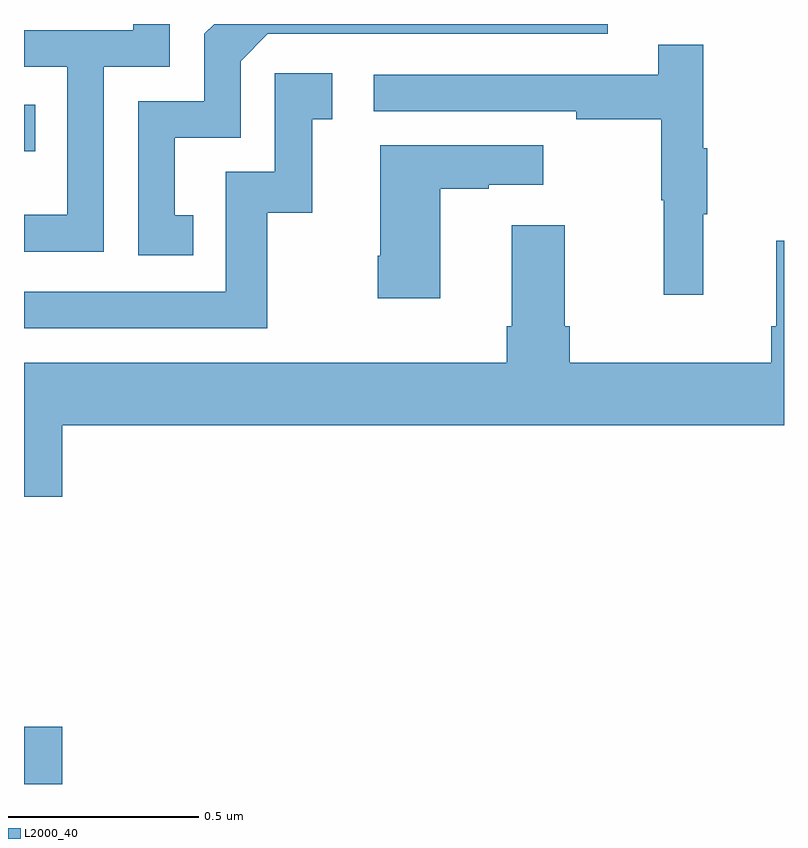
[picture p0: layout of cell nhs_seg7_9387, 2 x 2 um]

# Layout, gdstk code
import gdstk
lib = gdstk.Library(unit=1e-6, precision=1e-09)
def R(c, l, rs):  # rectangles x0, y0, x1, y1
    for r in rs: c.add(gdstk.rectangle(r[:2], r[2:], *l))
def P(c, l, *ps):  # polygons
    for p in ps: c.add(gdstk.Polygon(p, *l))
L2000_40 = (2000, 40)

nhs_seg7_9387 = lib.new_cell('nhs_seg7_9387')
R(nhs_seg7_9387, L2000_40, [(237,1005,237.1,1005.151), (237,1006.665,237.029,1006.788)])
P(nhs_seg7_9387, L2000_40, [(237.446,1006.497),(237.397,1006.497),(237.397,1006.701),(237.57,1006.701),(237.57,1006.902),(237.642,1006.974),(238.536,1006.974),(238.536,1007),(237.5,1007),(237.474,1006.974),(237.474,1006.797),(237.3,1006.797),(237.3,1006.392),(237.446,1006.392)],
  [(237.21,1006.887),(237.384,1006.887),(237.384,1007),(237.287,1007),(237.287,1006.983),(237,1006.983),(237,1006.887),(237.114,1006.887),(237.114,1006.498),(237,1006.498),(237,1006.401),(237.21,1006.401)],
  [(238.787,1006.499),(238.798,1006.499),(238.798,1006.673),(238.787,1006.673),(238.787,1006.945),(238.669,1006.945),(238.669,1006.866),(237.921,1006.866),(237.921,1006.77),(238.453,1006.77),(238.453,1006.75),(238.677,1006.75),(238.677,1006.536),(238.684,1006.536),(238.684,1006.287),(238.787,1006.287)],
  [(237.64,1006.503),(237.758,1006.503),(237.758,1006.749),(237.811,1006.749),(237.811,1006.87),(237.66,1006.87),(237.66,1006.611),(237.531,1006.611),(237.531,1006.296),(237,1006.296),(237,1006.2),(237.64,1006.2)],
  [(238.096,1006.567),(238.223,1006.567),(238.223,1006.577),(238.366,1006.577),(238.366,1006.681),(237.938,1006.681),(237.938,1006.39),(237.931,1006.39),(237.931,1006.278),(238.096,1006.278)],
  [(237.1,1005.944),(239,1005.944),(239,1006.429),(238.979,1006.429),(238.979,1006.204),(238.967,1006.204),(238.967,1006.108),(238.436,1006.108),(238.436,1006.204),(238.423,1006.204),(238.423,1006.471),(238.283,1006.471),(238.283,1006.204),(238.271,1006.204),(238.271,1006.108),(237,1006.108),(237,1005.756),(237.1,1005.756)])

lib.write_gds('nhs_seg7_9387.gds')
